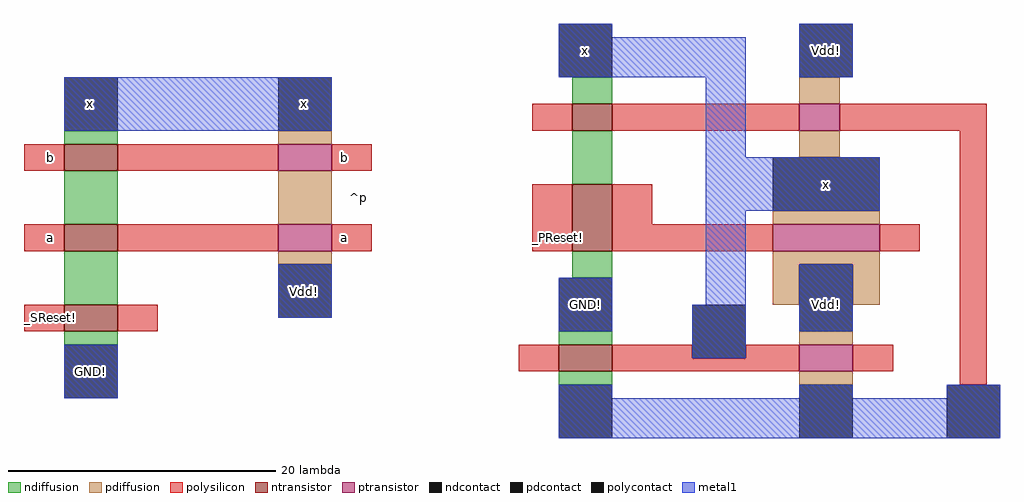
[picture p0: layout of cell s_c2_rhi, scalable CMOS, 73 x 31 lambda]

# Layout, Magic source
magic
tech scmos
<< ndiffusion >>
rect -24 82 -20 83
rect 14 85 17 87
rect -24 76 -20 80
rect 14 79 17 83
rect -24 70 -20 74
rect 14 72 17 74
rect -24 67 -20 68
rect 13 67 17 68
rect 13 64 17 65
<< pdiffusion >>
rect 31 85 34 87
rect -8 82 -4 83
rect -8 76 -4 80
rect 31 81 34 83
rect 29 76 37 77
rect -8 73 -4 74
rect 29 73 37 74
rect 29 70 31 73
rect 35 70 37 73
rect 31 67 35 68
rect 31 64 35 65
<< ntransistor >>
rect 14 83 17 85
rect -24 80 -20 82
rect -24 74 -20 76
rect 14 74 17 79
rect -24 68 -20 70
rect 13 65 17 67
<< ptransistor >>
rect 31 83 34 85
rect -8 80 -4 82
rect -8 74 -4 76
rect 29 74 37 76
rect 31 65 35 67
<< polysilicon >>
rect 11 83 14 85
rect 17 83 31 85
rect 34 83 45 85
rect -27 80 -24 82
rect -20 80 -8 82
rect -4 80 -1 82
rect -27 74 -24 76
rect -20 74 -8 76
rect -4 74 -1 76
rect 11 74 14 79
rect 17 76 20 79
rect 17 74 29 76
rect 37 74 40 76
rect -27 68 -24 70
rect -20 68 -17 70
rect 10 65 13 67
rect 17 66 23 67
rect 27 66 31 67
rect 17 65 31 66
rect 35 65 38 67
rect 43 64 45 83
<< ndcontact >>
rect 13 87 17 91
rect -24 83 -20 87
rect 13 68 17 72
rect -24 63 -20 67
rect 13 60 17 64
<< pdcontact >>
rect -8 83 -4 87
rect 31 87 35 91
rect 29 77 37 81
rect -8 69 -4 73
rect 31 68 35 73
rect 31 60 35 64
<< polycontact >>
rect 23 66 27 70
rect 42 60 46 64
<< metal1 >>
rect 13 90 17 91
rect 13 87 27 90
rect 31 87 35 91
rect -24 83 -4 87
rect 24 81 27 87
rect 24 77 37 81
rect -8 69 -4 73
rect 13 68 17 72
rect 24 70 27 77
rect -24 63 -20 67
rect 23 66 27 70
rect 31 68 35 73
rect 13 63 17 64
rect 31 63 35 64
rect 42 63 46 64
rect 13 60 46 63
<< labels >>
rlabel polysilicon -25 75 -25 75 3 a
rlabel polysilicon -25 81 -25 81 3 b
rlabel polysilicon -25 69 -25 69 1 _SReset!
rlabel space -28 62 -24 88 7 ^n
rlabel space -4 68 0 88 3 ^p
rlabel polysilicon -3 75 -3 75 3 a
rlabel polysilicon -3 81 -3 81 3 b
rlabel polysilicon 13 75 13 75 1 _PReset!
rlabel ndcontact -22 85 -22 85 1 x
rlabel pdcontact -6 85 -6 85 1 x
rlabel pdcontact -6 71 -6 71 1 Vdd!
rlabel ndcontact -22 65 -22 65 1 GND!
rlabel pdcontact 33 70 33 70 1 Vdd!
rlabel ndcontact 15 70 15 70 1 GND!
rlabel pdcontact 33 79 33 79 1 x
rlabel pdcontact 33 89 33 89 1 Vdd!
rlabel ndcontact 15 89 15 89 5 x
<< end >>
